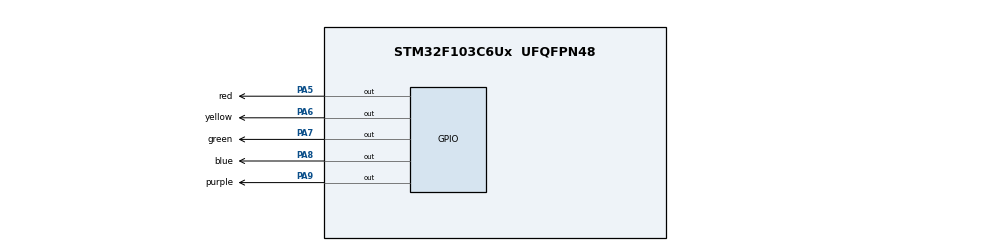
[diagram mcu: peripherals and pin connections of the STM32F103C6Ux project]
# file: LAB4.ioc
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Mcu.Family=STM32F1
Mcu.Name=STM32F103C6Ux
Mcu.Package=UFQFPN48
NVIC.PriorityGroup=NVIC_PRIORITYGROUP_4
NVIC.TIM2_IRQn=true\:0\:0\:false\:false\:true\:true\:true
PA5.GPIO_Label=red
PA5.Signal=GPIO_Output
PA6.GPIO_Label=yellow
PA6.Signal=GPIO_Output
PA7.GPIO_Label=green
PA7.Signal=GPIO_Output
PA8.GPIO_Label=blue
PA8.Signal=GPIO_Output
PA9.GPIO_Label=purple
PA9.Signal=GPIO_Output
ProjectManager.HeapSize=0x200
ProjectManager.StackSize=0x400
ProjectManager.TargetToolchain=STM32CubeIDE
RCC.APB1Freq_Value=8000000
RCC.APB2Freq_Value=8000000
TIM2.Period=9
TIM2.Prescaler=7999
VP_SYS_VS_ND.Mode=No_Debug
VP_TIM2_VS_ClockSourceINT.Mode=Internal
board=custom

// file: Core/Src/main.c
/* USER CODE BEGIN Header */
/**
  ******************************************************************************
  * @file           : main.c
  * @brief          : Main program body
  ******************************************************************************
  * @attention
  *
  * <h2><center>&copy; Copyright (c) 2023 STMicroelectronics.
  * All rights reserved.</center></h2>
  *
  * This software component is licensed by ST under BSD 3-Clause license,
  * the "License"; You may not use this file except in compliance with the
  * License. You may obtain a copy of the License at:
  *                        opensource.org/licenses/BSD-3-Clause
  *
  ******************************************************************************
  */
/* USER CODE END Header */
#include "main.h"

/* USER CODE BEGIN Includes */
#include "scheduler.h"
#include "Tasks.h"
/* USER CODE END Includes */

TIM_HandleTypeDef htim2;

void SystemClock_Config(void);
static void MX_GPIO_Init(void);
static void MX_TIM2_Init(void);

/* USER CODE BEGIN 0 */
void ledtest(){
	HAL_GPIO_TogglePin(red_GPIO_Port, red_Pin);
}
/* USER CODE END 0 */

int main(void)
{

  /* MCU Configuration--------------------------------------------------------*/

  /* Reset of all peripherals, Initializes the Flash interface and the Systick. */
  HAL_Init();

  /* Configure the system clock */
  SystemClock_Config();

  /* Initialize all configured peripherals */
  MX_GPIO_Init();
  MX_TIM2_Init();
  /* USER CODE BEGIN 2 */
  HAL_TIM_Base_Start_IT(&htim2);
  /* USER CODE END 2 */

  /* Infinite loop */
  /* USER CODE BEGIN WHILE */
  InitLED();
  SCH_Init();
  SCH_Add_Task(Task1, 0, 50);
  SCH_Add_Task(Task2, 0, 100);
  SCH_Add_Task(Task3, 0, 150);
  SCH_Add_Task(Task4, 0, 200);
  SCH_Add_Task(Task5, 100, 0);

  while (1)
  {
	  SCH_Dispatch_Tasks();
    /* USER CODE END WHILE */

  }
}

void SystemClock_Config(void)
{
  RCC_OscInitTypeDef RCC_OscInitStruct = {0};
  RCC_ClkInitTypeDef RCC_ClkInitStruct = {0};

  /** Initializes the RCC Oscillators according to the specified parameters
  * in the RCC_OscInitTypeDef structure.
  */
  RCC_OscInitStruct.OscillatorType = RCC_OSCILLATORTYPE_HSI;
  RCC_OscInitStruct.HSIState = RCC_HSI_ON;
  RCC_OscInitStruct.HSICalibrationValue = RCC_HSICALIBRATION_DEFAULT;
  RCC_OscInitStruct.PLL.PLLState = RCC_PLL_NONE;
  if (HAL_RCC_OscConfig(&RCC_OscInitStruct) != HAL_OK)
  {
    Error_Handler();
  }
  /** Initializes the CPU, AHB and APB buses clocks
  */
  RCC_ClkInitStruct.ClockType = RCC_CLOCKTYPE_HCLK|RCC_CLOCKTYPE_SYSCLK
                              |RCC_CLOCKTYPE_PCLK1|RCC_CLOCKTYPE_PCLK2;
  RCC_ClkInitStruct.SYSCLKSource = RCC_SYSCLKSOURCE_HSI;
  RCC_ClkInitStruct.AHBCLKDivider = RCC_SYSCLK_DIV1;
  RCC_ClkInitStruct.APB1CLKDivider = RCC_HCLK_DIV1;
  RCC_ClkInitStruct.APB2CLKDivider = RCC_HCLK_DIV1;

  if (HAL_RCC_ClockConfig(&RCC_ClkInitStruct, FLASH_LATENCY_0) != HAL_OK)
  {
    Error_Handler();
  }
}

static void MX_TIM2_Init(void)
{

  TIM_ClockConfigTypeDef sClockSourceConfig = {0};
  TIM_MasterConfigTypeDef sMasterConfig = {0};

  htim2.Instance = TIM2;
  htim2.Init.Prescaler = 7999;
  htim2.Init.CounterMode = TIM_COUNTERMODE_UP;
  htim2.Init.Period = 9;
  htim2.Init.ClockDivision = TIM_CLOCKDIVISION_DIV1;
  htim2.Init.AutoReloadPreload = TIM_AUTORELOAD_PRELOAD_DISABLE;
  if (HAL_TIM_Base_Init(&htim2) != HAL_OK)
  {
    Error_Handler();
  }
  sClockSourceConfig.ClockSource = TIM_CLOCKSOURCE_INTERNAL;
  if (HAL_TIM_ConfigClockSource(&htim2, &sClockSourceConfig) != HAL_OK)
  {
    Error_Handler();
  }
  sMasterConfig.MasterOutputTrigger = TIM_TRGO_RESET;
  sMasterConfig.MasterSlaveMode = TIM_MASTERSLAVEMODE_DISABLE;
  if (HAL_TIMEx_MasterConfigSynchronization(&htim2, &sMasterConfig) != HAL_OK)
  {
    Error_Handler();
  }

}

static void MX_GPIO_Init(void)
{
  GPIO_InitTypeDef GPIO_InitStruct = {0};

  /* GPIO Ports Clock Enable */
  __HAL_RCC_GPIOA_CLK_ENABLE();

  /*Configure GPIO pin Output Level */
  HAL_GPIO_WritePin(GPIOA, red_Pin|yellow_Pin|green_Pin|blue_Pin
                          |purple_Pin, GPIO_PIN_RESET);

  /*Configure GPIO pins : red_Pin yellow_Pin green_Pin blue_Pin
                           purple_Pin */
  GPIO_InitStruct.Pin = red_Pin|yellow_Pin|green_Pin|blue_Pin
                          |purple_Pin;
  GPIO_InitStruct.Mode = GPIO_MODE_OUTPUT_PP;
  GPIO_InitStruct.Pull = GPIO_NOPULL;
  GPIO_InitStruct.Speed = GPIO_SPEED_FREQ_LOW;
  HAL_GPIO_Init(GPIOA, &GPIO_InitStruct);

}

/* USER CODE BEGIN 4 */
  void HAL_TIM_PeriodElapsedCallback(TIM_HandleTypeDef *htim){
	  SCH_Update();
  }

/* USER CODE END 4 */

void Error_Handler(void)
{
  __disable_irq();
  while (1)
  {
  }
}

/************************ (C) COPYRIGHT STMicroelectronics *****END OF FILE****/
